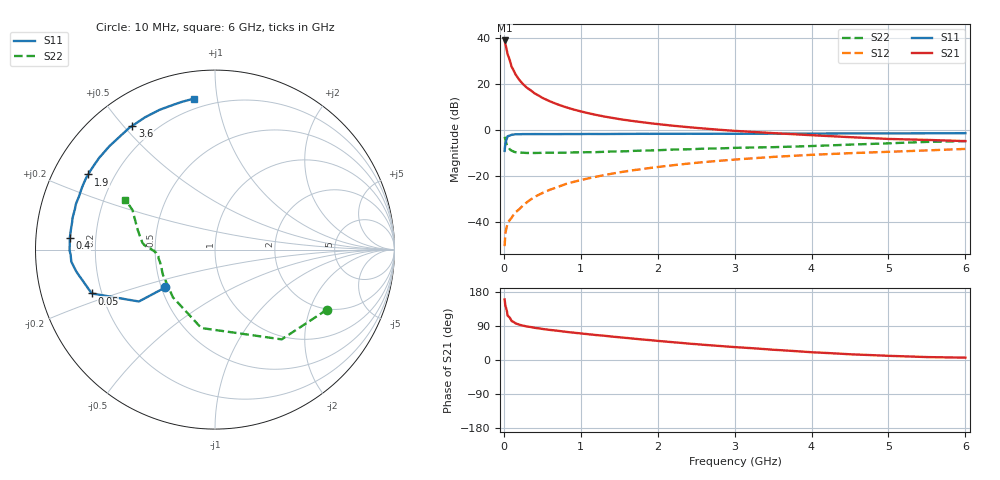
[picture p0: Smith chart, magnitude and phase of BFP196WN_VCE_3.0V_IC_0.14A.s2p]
! Infineon Technologies  Discrete & RF Semiconductors
! BFP196WN
! VCE =  3.0 V,  IC = 0.14 A
! Common Emitter S-Parameters:  Jan 2017
# GHz  S  MA  R  50
!  f  S11  S21  S12  S22
! GHz  MAG  ANG  MAG  ANG  MAG  ANG  MAG  ANG
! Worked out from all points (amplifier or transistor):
!   77 points, 10 MHz to 6 GHz, reference 50 ohm
!   highest |S21| = 39.1 dB at 10 MHz (marker M1)
!   |S21| within 3 dB of that: start of sweep to 30.02 MHz
!   unconditionally stable (mu >= 1): 271.4 MHz to 3.123 GHz
!   at 130 MHz: K = 0.83, MSG = 31.3 dB, |S12| = -36.9 dB
!   at 2.2 GHz: K = 1.03, MAG = 7.5 dB, |S12| = -15.4 dB
!   at 6 GHz: K = 0.95, MSG = 1.7 dB, |S12| = -8.3 dB
!   S11 on the Smith chart (normalised r, x): 10 MHz: 0.53, -0.25; 50 MHz: 0.16, -0.17; 400 MHz: 0.10, +0.04; 1.9 GHz: 0.11, +0.27; 3.6 GHz: 0.12, +0.53; 6 GHz: 0.14, +0.86
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0.01  0.3472 -142.7  89.66 160.0  0.0029 73.1  0.7086 -28.1
0.02  0.513 -145.7  74.8 142.8  0.0054 61.1  0.623 -53.4
0.05  0.729 -160.4  44.39 116.8  0.0094 46.8  0.4435 -99.9
0.1  0.7818 -170.9  24.08 102.9  0.012 57.5  0.3544 -131.4
0.15  0.8036 -175.2  16.46 96.9  0.0158 59.2  0.3266 -146.2
0.2  0.8048 -178.0  12.41 93.3  0.0186 67.1  0.3225 -154.0
0.25  0.8106 -179.8  9.97 90.6  0.0226 68.4  0.3177 -158.4
0.3  0.8098 178.4  8.333 88.5  0.0264 70.2  0.3139 -162.5
0.4  0.8118 175.5  6.279 84.9  0.0344 73.2  0.3137 -166.4
0.5  0.8106 173.2  5.025 82.0  0.0418 73.3  0.3161 -169.2
0.6  0.8104 171.3  4.198 79.4  0.0495 73.2  0.318 -171.3
0.7  0.8104 169.3  3.598 77.1  0.0567 74.5  0.3168 -172.9
0.9  0.8124 165.4  2.806 72.3  0.0729 73.4  0.3227 -174.6
1.1  0.8155 162.1  2.311 68.0  0.0877 72.7  0.3264 -176.6
1.5  0.817 155.6  1.724 60.0  0.118 69.8  0.339 -179.0
1.9  0.8202 149.3  1.401 52.5  0.1476 66.7  0.3562 179.2
2.1  0.8214 146.1  1.287 48.7  0.1623 64.9  0.3662 178.7
3.1  0.8229 131.0  0.933 32.8  0.2314 55.6  0.4089 173.9
3.6  0.8294 123.7  0.834 25.9  0.2629 51.0  0.4247 169.9
4.1  0.8339 116.6  0.752 19.5  0.2907 46.2  0.4506 164.3
5.1  0.8396 105.8  0.629 10.4  0.3374 38.1  0.5172 153.9
6  0.8494 98.1  0.57 6.2  0.385 31.7  0.5706 151.2
